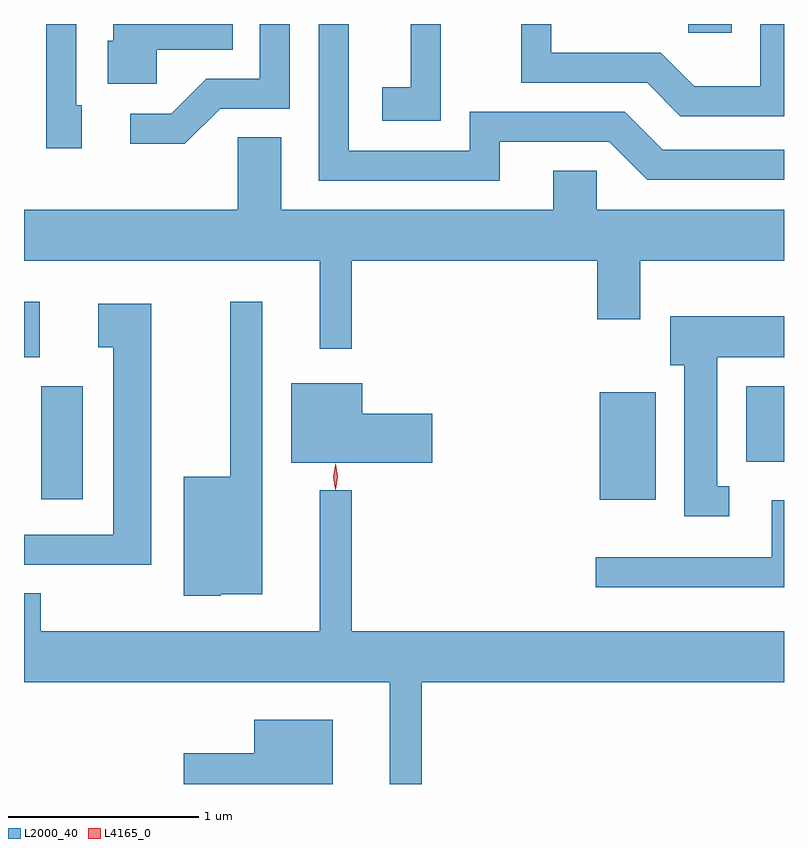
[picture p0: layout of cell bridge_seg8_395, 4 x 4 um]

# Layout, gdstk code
import gdstk
lib = gdstk.Library(unit=1e-6, precision=1e-09)
def R(c, l, rs):  # rectangles x0, y0, x1, y1
    for r in rs: c.add(gdstk.rectangle(r[:2], r[2:], *l))
def P(c, l, *ps):  # polygons
    for p in ps: c.add(gdstk.Polygon(p, *l))
L2000_40 = (2000, 40)
L4165_0 = (4165, 0)

bridge_seg8_395 = lib.new_cell('bridge_seg8_395')
R(bridge_seg8_395, L2000_40, [(808.376,1870.676,808.669,1871.244), (805.436,1870.681,805.654,1871.274), (809.146,1870.876,809.345,1871.274), (805.345,1871.426,805.429,1871.718), (808.841,1873.136,809.069,1873.181)])
P(bridge_seg8_395, L2000_40, [(806.377,1872.736),(806.744,1872.736),(806.744,1873.181),(806.586,1873.181),(806.586,1872.894),(806.304,1872.894),(806.119,1872.709),(805.903,1872.709),(805.903,1872.551),(806.192,1872.551)],
  [(805.649,1872.754),(805.619,1872.754),(805.619,1873.181),(805.461,1873.181),(805.461,1872.526),(805.649,1872.526)],
  [(807.849,1872.561),(808.424,1872.561),(808.624,1872.361),(809.345,1872.361),(809.345,1872.519),(808.707,1872.519),(808.507,1872.719),(807.691,1872.719),(807.691,1872.514),(807.054,1872.514),(807.054,1873.181),(806.896,1873.181),(806.896,1872.356),(807.849,1872.356)],
  [(806.044,1873.046),(806.443,1873.046),(806.443,1873.181),(805.816,1873.181),(805.816,1873.094),(805.786,1873.094),(805.786,1872.866),(806.044,1872.866)],
  [(809.345,1873.181),(809.221,1873.181),(809.221,1872.854),(808.872,1872.854),(808.697,1873.029),(808.119,1873.029),(808.119,1873.181),(807.961,1873.181),(807.961,1872.871),(808.624,1872.871),(808.799,1872.696),(809.345,1872.696)],
  [(807.539,1873.181),(807.381,1873.181),(807.381,1872.849),(807.231,1872.849),(807.231,1872.671),(807.539,1872.671)],
  [(807.069,1871.936),(808.361,1871.936),(808.361,1871.626),(808.589,1871.626),(808.589,1871.936),(809.345,1871.936),(809.345,1872.204),(808.359,1872.204),(808.359,1872.409),(808.131,1872.409),(808.131,1872.204),(806.699,1872.204),(806.699,1872.584),(806.471,1872.584),(806.471,1872.204),(805.345,1872.204),(805.345,1871.936),(806.901,1871.936),(806.901,1871.473),(807.069,1871.473)],
  [(806.38,1870.181),(806.599,1870.181),(806.599,1871.718),(806.431,1871.718),(806.431,1870.799),(806.186,1870.799),(806.186,1870.171),(806.38,1870.171)],
  [(806.014,1871.709),(805.736,1871.709),(805.736,1871.481),(805.816,1871.481),(805.816,1870.494),(805.345,1870.494),(805.345,1870.336),(806.014,1870.336)],
  [(809.058,1870.749),(808.994,1870.749),(808.994,1871.426),(809.345,1871.426),(809.345,1871.644),(808.746,1871.644),(808.746,1871.386),(808.821,1871.386),(808.821,1870.591),(809.058,1870.591)],
  [(807.494,1871.129),(807.124,1871.129),(807.124,1871.289),(806.751,1871.289),(806.751,1870.871),(807.494,1870.871)],
  [(807.439,1869.716),(809.345,1869.716),(809.345,1869.984),(807.069,1869.984),(807.069,1870.728),(806.901,1870.728),(806.901,1869.984),(805.434,1869.984),(805.434,1870.184),(805.345,1870.184),(805.345,1869.716),(807.271,1869.716),(807.271,1869.181),(807.439,1869.181)],
  [(809.345,1870.674),(809.281,1870.674),(809.281,1870.374),(808.353,1870.374),(808.353,1870.216),(809.345,1870.216)],
  [(806.969,1869.519),(806.556,1869.519),(806.556,1869.344),(806.186,1869.344),(806.186,1869.181),(806.969,1869.181)])
P(bridge_seg8_395, L4165_0, [(806.982,1870.733),(806.972,1870.796),(806.982,1870.859),(806.982,1870.86),(806.983,1870.859),(806.992,1870.796),(806.983,1870.733),(806.983,1870.733)],
  [(806.985,1870.73),(806.985,1870.73),(806.976,1870.798),(806.986,1870.866),(806.987,1870.866),(806.987,1870.866),(806.996,1870.798),(806.986,1870.73)])

lib.write_gds('bridge_seg8_395.gds')
